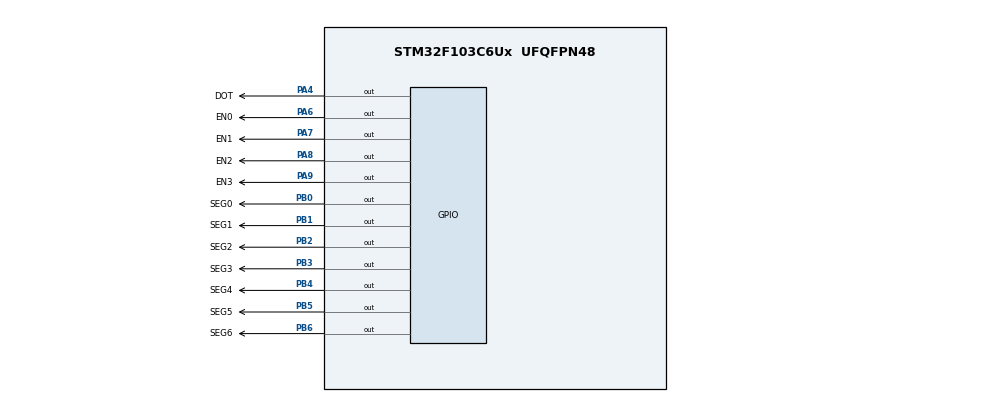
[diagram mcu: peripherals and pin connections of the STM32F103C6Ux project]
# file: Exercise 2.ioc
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Mcu.Family=STM32F1
Mcu.Name=STM32F103C6Ux
Mcu.Package=UFQFPN48
NVIC.PriorityGroup=NVIC_PRIORITYGROUP_4
NVIC.TIM1_BRK_IRQn=true\:0\:0\:false\:false\:true\:true\:true
NVIC.TIM1_CC_IRQn=true\:0\:0\:false\:false\:true\:true\:true
NVIC.TIM1_TRG_COM_IRQn=true\:0\:0\:false\:false\:true\:true\:true
NVIC.TIM1_UP_IRQn=true\:0\:0\:false\:false\:true\:true\:true
NVIC.TIM2_IRQn=true\:0\:0\:false\:false\:true\:true\:true
PA4.GPIO_Label=DOT
PA4.Signal=GPIO_Output
PA6.GPIO_Label=EN0
PA6.Signal=GPIO_Output
PA7.GPIO_Label=EN1
PA7.Signal=GPIO_Output
PA8.GPIO_Label=EN2
PA8.Signal=GPIO_Output
PA9.GPIO_Label=EN3
PA9.Signal=GPIO_Output
PB0.GPIO_Label=SEG0
PB0.Signal=GPIO_Output
PB1.GPIO_Label=SEG1
PB1.Signal=GPIO_Output
PB2.GPIO_Label=SEG2
PB2.Signal=GPIO_Output
PB3.GPIO_Label=SEG3
PB3.Signal=GPIO_Output
PB4.GPIO_Label=SEG4
PB4.Signal=GPIO_Output
PB5.GPIO_Label=SEG5
PB5.Signal=GPIO_Output
PB6.GPIO_Label=SEG6
PB6.Signal=GPIO_Output
ProjectManager.HeapSize=0x200
ProjectManager.StackSize=0x400
ProjectManager.TargetToolchain=STM32CubeIDE
RCC.APB1Freq_Value=8000000
RCC.APB2Freq_Value=8000000
TIM1.Period=9
TIM1.Prescaler=7999
TIM2.Period=9
TIM2.Prescaler=7999
VP_SYS_VS_ND.Mode=No_Debug
VP_TIM1_VS_ClockSourceINT.Mode=Internal
VP_TIM2_VS_ClockSourceINT.Mode=Internal
board=custom

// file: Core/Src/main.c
/* USER CODE BEGIN Header */
/**
  ******************************************************************************
  * @file           : main.c
  * @brief          : Main program body
  ******************************************************************************
  * @attention
  *
  * <h2><center>&copy; Copyright (c) 2023 STMicroelectronics.
  * All rights reserved.</center></h2>
  *
  * This software component is licensed by ST under BSD 3-Clause license,
  * the "License"; You may not use this file except in compliance with the
  * License. You may obtain a copy of the License at:
  *                        opensource.org/licenses/BSD-3-Clause
  *
  ******************************************************************************
  */
/* USER CODE END Header */
#include "main.h"

/* USER CODE BEGIN Includes */
#include "software_timer.h"
/* USER CODE END Includes */

TIM_HandleTypeDef htim1;
TIM_HandleTypeDef htim2;

void SystemClock_Config(void);
static void MX_GPIO_Init(void);
static void MX_TIM1_Init(void);
static void MX_TIM2_Init(void);

int main(void)
{

  /* MCU Configuration--------------------------------------------------------*/

  /* Reset of all peripherals, Initializes the Flash interface and the Systick. */
  HAL_Init();

  /* Configure the system clock */
  SystemClock_Config();

  /* Initialize all configured peripherals */
  MX_GPIO_Init();
  MX_TIM1_Init();
  MX_TIM2_Init();
  /* USER CODE BEGIN 2 */
  HAL_TIM_Base_Start_IT(&htim1);
  HAL_TIM_Base_Start_IT(&htim2);
  /* USER CODE END 2 */

  /* Infinite loop */
  void display7SEG(int num) {
  	  char segNumber[10] = {0xC0, 0xF9, 0xA4, 0xB0, 0x99, 0x92, 0x82, 0xF8, 0x80, 0x90};
      for (int i = 0; i < 7; ++i) {
      	  HAL_GPIO_WritePin(GPIOB, GPIO_PIN_0 << i, (segNumber[num] >> i) & 1);
        }
    }
  /* USER CODE BEGIN WHILE */
  enum SegmentState {Segment1, Segment2, Segment3, Segment4};
  enum SegmentState currentState = Segment1;
  enum SegmentState nextState = currentState;
  setTimer1(1);
  setTimer2(1);
  while (1)
  {
	  if (timer2_flag == 1){
		  setTimer2(50);
	  		  switch (currentState) {

	  		  case Segment1:
	  			  display7SEG(1);
	  			  HAL_GPIO_WritePin(GPIOA, EN0_Pin, RESET);
	  			  HAL_GPIO_WritePin(GPIOA, EN1_Pin, SET);
	  			  HAL_GPIO_WritePin(GPIOA, EN2_Pin, SET);
	  			  HAL_GPIO_WritePin(GPIOA, EN3_Pin, SET);
	  			  nextState = Segment2;
	  			  break;

	  		  case Segment2:
	  			  display7SEG(2);
	  			  HAL_GPIO_WritePin(GPIOA, EN0_Pin, SET);
	  			  HAL_GPIO_WritePin(GPIOA, EN1_Pin, RESET);
	  			  HAL_GPIO_WritePin(GPIOA, EN2_Pin, SET);
	  		      HAL_GPIO_WritePin(GPIOA, EN3_Pin, SET);
	  			  nextState = Segment3;
	  			  break;

	  		  case Segment3:
	  			display7SEG(3);
	  			HAL_GPIO_WritePin(GPIOA, EN0_Pin, SET);
	  			HAL_GPIO_WritePin(GPIOA, EN1_Pin, SET);
	  			HAL_GPIO_WritePin(GPIOA, EN2_Pin, RESET);
	  			HAL_GPIO_WritePin(GPIOA, EN3_Pin, SET);
	  			nextState = Segment4;
	  			break;

	  		  case Segment4:
	  			display7SEG(0);
	  			HAL_GPIO_WritePin(GPIOA, EN0_Pin, SET);
	  			HAL_GPIO_WritePin(GPIOA, EN1_Pin, SET);
	  			HAL_GPIO_WritePin(GPIOA, EN2_Pin, SET);
	  			HAL_GPIO_WritePin(GPIOA, EN3_Pin, RESET);
	  			nextState = Segment1;
	  			break;

	  		  default:
	  			  break;
	  		  }
	  		  currentState = nextState;
	  }
	  if (timer1_flag == 1){
		  setTimer1(100);
		  HAL_GPIO_TogglePin(GPIOA, DOT_Pin);
	  }
    /* USER CODE END WHILE */

  }
}

void SystemClock_Config(void)
{
  RCC_OscInitTypeDef RCC_OscInitStruct = {0};
  RCC_ClkInitTypeDef RCC_ClkInitStruct = {0};

  /** Initializes the RCC Oscillators according to the specified parameters
  * in the RCC_OscInitTypeDef structure.
  */
  RCC_OscInitStruct.OscillatorType = RCC_OSCILLATORTYPE_HSI;
  RCC_OscInitStruct.HSIState = RCC_HSI_ON;
  RCC_OscInitStruct.HSICalibrationValue = RCC_HSICALIBRATION_DEFAULT;
  RCC_OscInitStruct.PLL.PLLState = RCC_PLL_NONE;
  if (HAL_RCC_OscConfig(&RCC_OscInitStruct) != HAL_OK)
  {
    Error_Handler();
  }
  /** Initializes the CPU, AHB and APB buses clocks
  */
  RCC_ClkInitStruct.ClockType = RCC_CLOCKTYPE_HCLK|RCC_CLOCKTYPE_SYSCLK
                              |RCC_CLOCKTYPE_PCLK1|RCC_CLOCKTYPE_PCLK2;
  RCC_ClkInitStruct.SYSCLKSource = RCC_SYSCLKSOURCE_HSI;
  RCC_ClkInitStruct.AHBCLKDivider = RCC_SYSCLK_DIV1;
  RCC_ClkInitStruct.APB1CLKDivider = RCC_HCLK_DIV1;
  RCC_ClkInitStruct.APB2CLKDivider = RCC_HCLK_DIV1;

  if (HAL_RCC_ClockConfig(&RCC_ClkInitStruct, FLASH_LATENCY_0) != HAL_OK)
  {
    Error_Handler();
  }
}

static void MX_TIM1_Init(void)
{

  TIM_ClockConfigTypeDef sClockSourceConfig = {0};
  TIM_MasterConfigTypeDef sMasterConfig = {0};

  htim1.Instance = TIM1;
  htim1.Init.Prescaler = 7999;
  htim1.Init.CounterMode = TIM_COUNTERMODE_UP;
  htim1.Init.Period = 9;
  htim1.Init.ClockDivision = TIM_CLOCKDIVISION_DIV1;
  htim1.Init.RepetitionCounter = 0;
  htim1.Init.AutoReloadPreload = TIM_AUTORELOAD_PRELOAD_DISABLE;
  if (HAL_TIM_Base_Init(&htim1) != HAL_OK)
  {
    Error_Handler();
  }
  sClockSourceConfig.ClockSource = TIM_CLOCKSOURCE_INTERNAL;
  if (HAL_TIM_ConfigClockSource(&htim1, &sClockSourceConfig) != HAL_OK)
  {
    Error_Handler();
  }
  sMasterConfig.MasterOutputTrigger = TIM_TRGO_RESET;
  sMasterConfig.MasterSlaveMode = TIM_MASTERSLAVEMODE_DISABLE;
  if (HAL_TIMEx_MasterConfigSynchronization(&htim1, &sMasterConfig) != HAL_OK)
  {
    Error_Handler();
  }

}

static void MX_TIM2_Init(void)
{

  TIM_ClockConfigTypeDef sClockSourceConfig = {0};
  TIM_MasterConfigTypeDef sMasterConfig = {0};

  htim2.Instance = TIM2;
  htim2.Init.Prescaler = 7999;
  htim2.Init.CounterMode = TIM_COUNTERMODE_UP;
  htim2.Init.Period = 9;
  htim2.Init.ClockDivision = TIM_CLOCKDIVISION_DIV1;
  htim2.Init.AutoReloadPreload = TIM_AUTORELOAD_PRELOAD_DISABLE;
  if (HAL_TIM_Base_Init(&htim2) != HAL_OK)
  {
    Error_Handler();
  }
  sClockSourceConfig.ClockSource = TIM_CLOCKSOURCE_INTERNAL;
  if (HAL_TIM_ConfigClockSource(&htim2, &sClockSourceConfig) != HAL_OK)
  {
    Error_Handler();
  }
  sMasterConfig.MasterOutputTrigger = TIM_TRGO_RESET;
  sMasterConfig.MasterSlaveMode = TIM_MASTERSLAVEMODE_DISABLE;
  if (HAL_TIMEx_MasterConfigSynchronization(&htim2, &sMasterConfig) != HAL_OK)
  {
    Error_Handler();
  }

}

static void MX_GPIO_Init(void)
{
  GPIO_InitTypeDef GPIO_InitStruct = {0};

  /* GPIO Ports Clock Enable */
  __HAL_RCC_GPIOA_CLK_ENABLE();
  __HAL_RCC_GPIOB_CLK_ENABLE();

  /*Configure GPIO pin Output Level */
  HAL_GPIO_WritePin(GPIOA, DOT_Pin|EN0_Pin|EN1_Pin|EN2_Pin
                          |EN3_Pin, GPIO_PIN_RESET);

  /*Configure GPIO pin Output Level */
  HAL_GPIO_WritePin(GPIOB, SEG0_Pin|SEG1_Pin|SEG2_Pin|SEG3_Pin
                          |SEG4_Pin|SEG5_Pin|SEG6_Pin, GPIO_PIN_RESET);

  /*Configure GPIO pins : DOT_Pin EN0_Pin EN1_Pin EN2_Pin
                           EN3_Pin */
  GPIO_InitStruct.Pin = DOT_Pin|EN0_Pin|EN1_Pin|EN2_Pin
                          |EN3_Pin;
  GPIO_InitStruct.Mode = GPIO_MODE_OUTPUT_PP;
  GPIO_InitStruct.Pull = GPIO_NOPULL;
  GPIO_InitStruct.Speed = GPIO_SPEED_FREQ_LOW;
  HAL_GPIO_Init(GPIOA, &GPIO_InitStruct);

  /*Configure GPIO pins : SEG0_Pin SEG1_Pin SEG2_Pin SEG3_Pin
                           SEG4_Pin SEG5_Pin SEG6_Pin */
  GPIO_InitStruct.Pin = SEG0_Pin|SEG1_Pin|SEG2_Pin|SEG3_Pin
                          |SEG4_Pin|SEG5_Pin|SEG6_Pin;
  GPIO_InitStruct.Mode = GPIO_MODE_OUTPUT_PP;
  GPIO_InitStruct.Pull = GPIO_NOPULL;
  GPIO_InitStruct.Speed = GPIO_SPEED_FREQ_LOW;
  HAL_GPIO_Init(GPIOB, &GPIO_InitStruct);

}

/* USER CODE BEGIN 4 */
void HAL_TIM_PeriodElapsedCallback(TIM_HandleTypeDef *htim){
	timerRun();
}
/* USER CODE END 4 */

void Error_Handler(void)
{
  __disable_irq();
  while (1)
  {
  }
}

/************************ (C) COPYRIGHT STMicroelectronics *****END OF FILE****/
